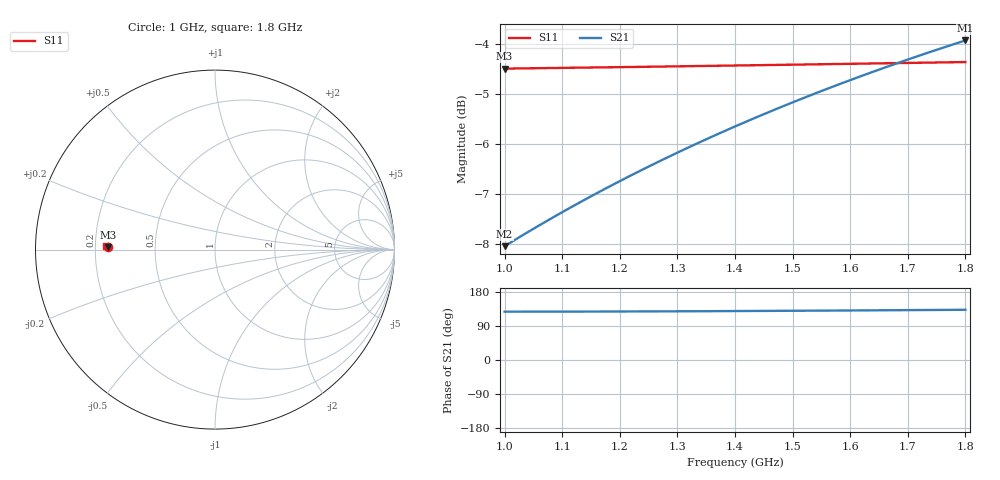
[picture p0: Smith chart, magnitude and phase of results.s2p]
! rfsim (KiCad + openEMS)
# HZ S RI R 50
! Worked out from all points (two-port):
!   251 points, 1 GHz to 1.8 GHz, reference 50 ohm
!   highest |S21| = -3.93 dB at 1.8 GHz (marker M1); lowest = -8.0 dB at 1 GHz (marker M2)
!   |S21| within 3 dB of the highest: 1.169 GHz to end of sweep
!   lowest |S11| = -4.5 dB at 1 GHz (marker M3), VSWR 3.95, Z = 12.7 + j0.581 ohm
!   |S11| at or under -10 dB: nowhere
!   S12 and S22 are empty: the file has one direction only
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1e9  -0.5957 0.0148  -0.2414 0.314  0 0  0 0
1.032e9  -0.5959 0.0152  -0.2477 0.3222  0 0  0 0
1.0672e9  -0.5963 0.0156  -0.2548 0.331  0 0  0 0
1.0992e9  -0.5966 0.016  -0.2614 0.3389  0 0  0 0
1.1344e9  -0.5969 0.0164  -0.2689 0.3473  0 0  0 0
1.1664e9  -0.5973 0.0167  -0.2757 0.3548  0 0  0 0
1.2016e9  -0.5976 0.0171  -0.2834 0.3629  0 0  0 0
1.2336e9  -0.598 0.0175  -0.2905 0.3701  0 0  0 0
1.2688e9  -0.5983 0.0178  -0.2985 0.3778  0 0  0 0
1.3008e9  -0.5987 0.0181  -0.3058 0.3846  0 0  0 0
1.3328e9  -0.599 0.0185  -0.3132 0.3913  0 0  0 0
1.3648e9  -0.5994 0.0188  -0.3208 0.3977  0 0  0 0
1.4e9  -0.5998 0.0191  -0.3291 0.4046  0 0  0 0
1.432e9  -0.6001 0.0194  -0.3368 0.4108  0 0  0 0
1.4672e9  -0.6005 0.0197  -0.3454 0.4173  0 0  0 0
1.4992e9  -0.6009 0.02  -0.3532 0.423  0 0  0 0
1.5344e9  -0.6013 0.0202  -0.3619 0.4291  0 0  0 0
1.5664e9  -0.6017 0.0205  -0.3699 0.4345  0 0  0 0
1.6016e9  -0.6021 0.0208  -0.3788 0.4402  0 0  0 0
1.6688e9  -0.6029 0.0213  -0.3959 0.4505  0 0  0 0
1.7328e9  -0.6037 0.0217  -0.4123 0.4597  0 0  0 0
1.8e9  -0.6045 0.0221  -0.4297 0.4685  0 0  0 0
